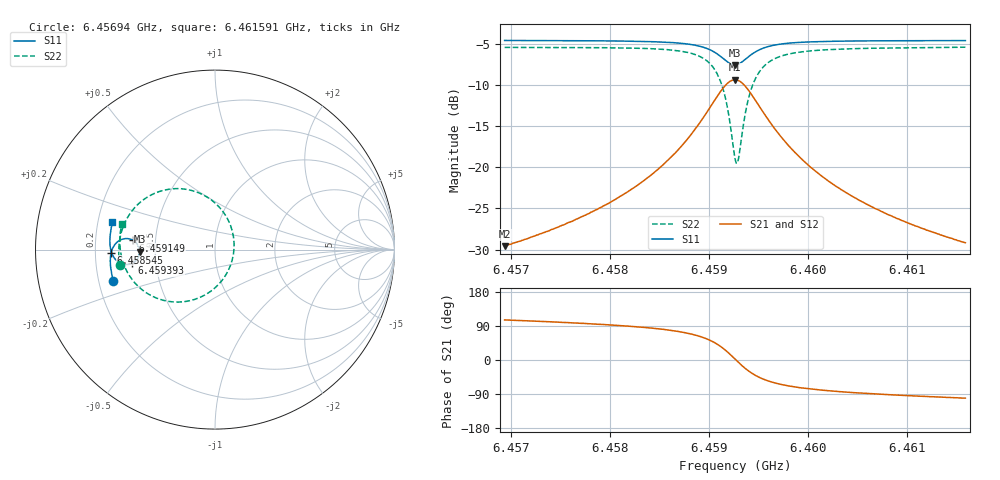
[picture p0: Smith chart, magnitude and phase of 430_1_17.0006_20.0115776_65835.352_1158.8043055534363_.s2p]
#  HZ  S  RI  R  50.00
! Rohde & Schwarz Vector Network Analyzer
! Rohde-Schwarz,ZNB20-2Port,1311601062101988,3.16
! Created: UTC 3/20/2024, 11:11:19 PM
! freq[Hz]  re:S11  im:S11  re:S21  im:S21  re:S12  im:S12  re:S22  im:S22
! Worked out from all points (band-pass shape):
!   401 points, 6.45694 GHz to 6.461591 GHz, reference 50 ohm
!   highest |S21| = -9.33 dB at 6.459265 GHz (marker M1); lowest = -29.6 dB at 6.45694 GHz (marker M2)
!   |S21| within 3 dB of the highest: 6.459033 GHz to 6.459498 GHz (465.1 kHz wide, 0.0072 % of centre)
!   lowest |S11| = -7.5 dB at 6.459265 GHz (marker M3), VSWR 2.45, Z = 20.4 - j0.538 ohm
!   |S11| at or under -10 dB: nowhere
!   |S22| runs from -19.5 to -5.4 dB; largest |S21 - S12| = 0.013
!   S11 on the Smith chart (normalised r, x): 6.45694 GHz: 0.26, -0.14; 6.458545 GHz: 0.27, -0.01; 6.459149 GHz: 0.37, +0.05; 6.459393 GHz: 0.37, -0.07; 6.461591 GHz: 0.26, +0.12
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6.4569399e9  -0.5658 -0.1749  -0.00904 0.0319  -0.00739 0.0319  -0.5299 -0.0881
6.457719e9  -0.5803 -0.1072  -0.00576 0.0498  -0.0034 0.0492  -0.5361 0.00214
6.4581608e9  -0.5834 -0.0631  0.000246 0.0698  0.00354 0.0683  -0.5282 0.0715
6.458498e9  -0.5799 -0.0228  0.0135 0.0976  0.0175 0.0949  -0.504 0.1469
6.4585446e9  -0.5785 -0.0166  0.0169 0.103  0.021 0.1  -0.4978 0.1599
6.4587539e9  -0.5664 0.0152  0.0426 0.1344  0.0468 0.1297  -0.4497 0.2312
6.458905e9  -0.5455 0.0415  0.0846 0.1645  0.0881 0.158  -0.3721 0.2953
6.4590562e9  -0.4997 0.0613  0.1756 0.1837  0.1766 0.1764  -0.2061 0.3398
6.4591492e9  -0.4555 0.0513  0.2647 0.1533  0.265 0.1473  -0.0413 0.291
6.4591957e9  -0.4346 0.0328  0.3081 0.1108  0.3093 0.1056  0.0411 0.2159
6.4592655e9  -0.4199 -0.0109  0.3412 0.0149  0.3449 0.00818  0.1062 0.0383
6.4592771e9  -0.4203 -0.0189  0.3413 -0.00258  0.3449 -0.0101  0.1061 0.00525
6.4593004e9  -0.4238 -0.0343  0.3358 -0.0369  0.3394 -0.0458  0.0952 -0.06
6.4593469e9  -0.4392 -0.0599  0.3076 -0.0961  0.3099 -0.108  0.0389 -0.172
6.4593934e9  -0.461 -0.076  0.2661 -0.137  0.2653 -0.1499  -0.0448 -0.2463
6.4594864e9  -0.504 -0.0827  0.1824 -0.1679  0.1763 -0.1794  -0.2116 -0.2925
6.4596376e9  -0.5474 -0.0621  0.0954 -0.1545  0.0871 -0.1606  -0.3772 -0.244
6.4598004e9  -0.5686 -0.0346  0.0511 -0.1269  0.0435 -0.1298  -0.457 -0.173
6.4600446e9  -0.5812 0.00105  0.0222 -0.0961  0.0165 -0.0966  -0.5047 -0.0915
6.4603585e9  -0.5855 0.0383  0.00726 -0.0715  0.00308 -0.071  -0.5251 -0.0194
6.4608236e9  -0.5835 0.0852  -0.00137 -0.0512  -0.00414 -0.0504  -0.5303 0.0551
6.4615911e9  -0.5711 0.1529  -0.0064 -0.0342  -0.00816 -0.0331  -0.519 0.1449
